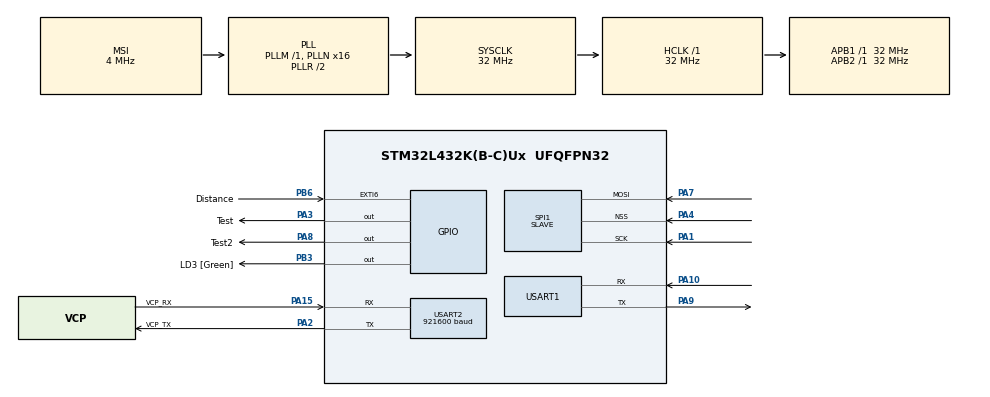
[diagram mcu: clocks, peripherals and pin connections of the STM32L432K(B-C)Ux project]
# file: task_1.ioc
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Dma.Request0=SPI1_RX
Dma.Request1=USART2_TX
Dma.SPI1_RX.0.Direction=DMA_PERIPH_TO_MEMORY
Dma.SPI1_RX.0.Instance=DMA1_Channel2
Dma.SPI1_RX.0.MemDataAlignment=DMA_MDATAALIGN_BYTE
Dma.SPI1_RX.0.MemInc=DMA_MINC_ENABLE
Dma.SPI1_RX.0.Mode=DMA_NORMAL
Dma.SPI1_RX.0.PeriphDataAlignment=DMA_PDATAALIGN_BYTE
Dma.SPI1_RX.0.PeriphInc=DMA_PINC_DISABLE
Dma.SPI1_RX.0.Priority=DMA_PRIORITY_HIGH
Dma.USART2_TX.1.Direction=DMA_MEMORY_TO_PERIPH
Dma.USART2_TX.1.Instance=DMA1_Channel7
Dma.USART2_TX.1.MemDataAlignment=DMA_MDATAALIGN_BYTE
Dma.USART2_TX.1.MemInc=DMA_MINC_ENABLE
Dma.USART2_TX.1.Mode=DMA_NORMAL
Dma.USART2_TX.1.PeriphDataAlignment=DMA_PDATAALIGN_BYTE
Dma.USART2_TX.1.PeriphInc=DMA_PINC_DISABLE
Dma.USART2_TX.1.Priority=DMA_PRIORITY_LOW
Mcu.Family=STM32L4
Mcu.Name=STM32L432K(B-C)Ux
Mcu.Package=UFQFPN32
NVIC.DMA1_Channel2_IRQn=true\:0\:0\:false\:false\:true\:false\:true\:true
NVIC.DMA1_Channel7_IRQn=true\:0\:0\:false\:false\:true\:false\:true\:true
NVIC.EXTI9_5_IRQn=true\:0\:0\:false\:false\:true\:true\:true\:true
NVIC.PriorityGroup=NVIC_PRIORITYGROUP_4
NVIC.USART1_IRQn=true\:0\:0\:false\:false\:true\:true\:true\:true
NVIC.USART2_IRQn=true\:0\:0\:false\:false\:true\:true\:true\:true
PA0.GPIO_Label=MCO [High speed clock in]
PA0.Mode=HSE-External-Clock-Source-for-LittleOrca
PA0.Signal=RCC_CK_IN
PA1.Mode=RX_Only_Simplex_Unidirect_Slave
PA1.Signal=SPI1_SCK
PA10.Mode=Asynchronous
PA10.Signal=USART1_RX
PA13\ (JTMS-SWDIO).GPIO_Label=SWDIO
PA13\ (JTMS-SWDIO).Mode=Serial_Wire
PA13\ (JTMS-SWDIO).Signal=SYS_JTMS-SWDIO
PA14\ (JTCK-SWCLK).GPIO_Label=SWCLK
PA14\ (JTCK-SWCLK).Mode=Serial_Wire
PA14\ (JTCK-SWCLK).Signal=SYS_JTCK-SWCLK
PA15\ (JTDI).GPIO_Label=VCP_RX
PA15\ (JTDI).Mode=Asynchronous
PA15\ (JTDI).Signal=USART2_RX
PA2.GPIO_Label=VCP_TX
PA2.Mode=Asynchronous
PA2.Signal=USART2_TX
PA3.GPIO_Label=Test
PA3.Signal=GPIO_Output
PA4.Mode=NSS_Signal_Hard_Input
PA4.Signal=SPI1_NSS
PA7.Mode=RX_Only_Simplex_Unidirect_Slave
PA7.Signal=SPI1_MOSI
PA8.GPIO_Label=Test2
PA8.Signal=GPIO_Output
PA9.Mode=Asynchronous
PA9.Signal=USART1_TX
PB3\ (JTDO-TRACESWO).GPIO_Label=LD3 [Green]
PB3\ (JTDO-TRACESWO).Signal=GPIO_Output
PB6.GPIO_Label=Distance
PB6.GPIO_ModeDefaultEXTI=GPIO_MODE_IT_RISING_FALLING
PB6.Signal=GPXTI6
PC14-OSC32_IN\ (PC14).Mode=LSE-External-Oscillator
PC14-OSC32_IN\ (PC14).Signal=RCC_OSC32_IN
PC15-OSC32_OUT\ (PC15).Mode=LSE-External-Oscillator
PC15-OSC32_OUT\ (PC15).Signal=RCC_OSC32_OUT
ProjectManager.HeapSize=0x200
ProjectManager.StackSize=0x400
ProjectManager.TargetToolchain=STM32CubeIDE
RCC.AHBFreq_Value=32000000
RCC.APB1Freq_Value=32000000
RCC.APB1TimFreq_Value=32000000
RCC.APB2Freq_Value=32000000
RCC.APB2TimFreq_Value=32000000
RCC.CortexFreq_Value=32000000
RCC.HCLKFreq_Value=32000000
RCC.HSE_VALUE=8000000
RCC.HSI16_VALUE=16000000
RCC.HSI48_VALUE=48000000
RCC.HSI_VALUE=16000000
RCC.MSI_VALUE=4000000
RCC.PLLMUL=RCC_PLLMUL_4
RCC.PLLN=16
RCC.SYSCLKFreq_VALUE=32000000
RCC.SYSCLKSource=RCC_SYSCLKSOURCE_PLLCLK
RCC.VCOOutputFreq_Value=64000000
SPI1.DataSize=SPI_DATASIZE_10BIT
SPI1.Direction=SPI_DIRECTION_2LINES_RXONLY
SPI1.Mode=SPI_MODE_SLAVE
SPI1.VirtualNSS=VM_NSSHARD
SPI1.VirtualType=VM_SLAVE
USART1.VirtualMode-Asynchronous=VM_ASYNC
USART2.BaudRate=921600
USART2.VirtualMode-Asynchronous=VM_ASYNC
board=NUCLEO-L432KC

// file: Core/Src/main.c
/* USER CODE BEGIN Header */
/**
  ******************************************************************************
  * @file           : main.c
  * @brief          : Main program body
  ******************************************************************************
  * @attention
  *
  * Copyright (c) 2026 STMicroelectronics.
  * All rights reserved.
  *
  * This software is licensed under terms that can be found in the LICENSE file
  * in the root directory of this software component.
  * If no LICENSE file comes with this software, it is provided AS-IS.
  *
  ******************************************************************************
  */
/* USER CODE END Header */
#include "main.h"

/* USER CODE BEGIN PTD */
typedef enum {
    RUNNING,
    WAIT_FOR_START,
	OUT_OF_DISTANCE
} SystemState;

typedef enum{
	MANUAL_RECORDING,
	DISTANCE_TRIGGERED
} Mode;

/* USER CODE END PTD */

SPI_HandleTypeDef hspi1;
DMA_HandleTypeDef hdma_spi1_rx;

UART_HandleTypeDef huart1;
UART_HandleTypeDef huart2;
DMA_HandleTypeDef hdma_usart2_tx;

/* USER CODE BEGIN PV */
const uint8_t ZERO  = 0;
const uint8_t STOP_INSTRUCTION = 64;
const uint8_t RECEIVED_CONFIRMATION = 27;
const uint8_t START = 4;

#define CHUNK_SIZE 256
#define WINDOW_SIZE 8

SystemState state = RUNNING;
Mode operation_mode = MANUAL_RECORDING;
uint8_t mode;
uint8_t instruction;
uint8_t received_confirmation;
uint16_t rxBuffer[256];
uint16_t history[2];
uint16_t average;
uint8_t counter = 0;
uint8_t initialise = 0;
uint8_t downsample = 0;
uint16_t downsample_buffer[2] = {0};
uint16_t cumulative_sample;
uint16_t chosen;
//
//uint16_t rxBuffer[CHUNK_SIZE*2];
//uint16_t txBuffer1[CHUNK_SIZE];
//uint16_t txBuffer2[CHUNK_SIZE];
//uint32_t running_sum = 0;
//uint16_t window[WINDOW_SIZE] = {0};
//uint8_t window_idx = 0;

/* USER CODE END PV */

void SystemClock_Config(void);
static void MX_GPIO_Init(void);
static void MX_DMA_Init(void);
static void MX_USART2_UART_Init(void);
static void MX_USART1_UART_Init(void);
static void MX_SPI1_Init(void);

/* USER CODE BEGIN 0 */
//void Process_Audio_Chunk(uint16_t* input_ptr, uint16_t* output_ptr, uint16_t size){
//	for(int i = 0; i<size; i++){
//		running_sum -= window[window_idx];
//		window[window_idx] = input_ptr[i];
//		running_sum += window[window_idx];
//
//		window_idx++;
//		if(window_idx >= WINDOW_SIZE){
//			window_idx = 0;
//		}
//
//		output_ptr[i] = running_sum >> 4;
//	}
//}

// To deal with echo pin from sampling stm
void HAL_GPIO_EXTI_Callback(uint16_t GPIO_Pin)
{
    // to handle the rising edge and failling edge of the Echo
    if (GPIO_Pin == GPIO_PIN_6 && operation_mode == DISTANCE_TRIGGERED)  // PB7
    {
        if (HAL_GPIO_ReadPin(GPIOB, GPIO_PIN_6) == GPIO_PIN_SET && state == RUNNING)
        {
            // rising edge, the object is out of range
            HAL_DMA_Abort_IT(&hdma_spi1_rx);
            HAL_DMA_Abort_IT(&hdma_usart2_tx);
            while (__HAL_UART_GET_FLAG(&huart2, UART_FLAG_TC) == RESET);   // make sure all DMA transmission is done before continuing
            huart2.gState = HAL_UART_STATE_READY;  // force HAL state back to ready

            // send out 4 bytes of 0xFF to signal that we are stopping
            uint8_t stop_val = 255;
            for (int i = 0; i < 4; i++){
                HAL_UART_Transmit(&huart2, &stop_val, 1, HAL_MAX_DELAY);
            };

            state = OUT_OF_DISTANCE;

        }
        else if (HAL_GPIO_ReadPin(GPIOB, GPIO_PIN_6) != GPIO_PIN_SET && state == OUT_OF_DISTANCE)
        {
            // falling edge, means that the object is within range again
            // re-arms the spi dma; refresh all the controlling parameter for SPI DMA
            counter = 0;
            average = 0;
            initialise = 0;
            cumulative_sample = 0;
            downsample = 0;
//        	window_idx = 0;
//        	for (int i = 0; i< WINDOW_SIZE; i++){
//        		window[i] = 0;
//        	}
//
//        	for (int i = 0; i < CHUNK_SIZE * 2; i++){
//        		rxBuffer[i] = 0;
//        	}
//        	running_sum = 0;
            state = RUNNING;
            huart2.gState = HAL_UART_STATE_READY;
            hspi1.State = HAL_SPI_STATE_READY;
            HAL_SPI_Receive_DMA(&hspi1,(uint8_t*)(downsample_buffer + downsample), 1);
        }
    }
}

// called whenever receive something from SPI
void HAL_SPI_RxCpltCallback(SPI_HandleTypeDef *hspi){

	if (hspi->Instance == SPI1) {
//		HAL_GPIO_WritePin(Test2_GPIO_Port, Test2_Pin,1);
		downsample ^= 0x1;
		if (downsample == 0){
			uint16_t value = (downsample_buffer[0] >> 1) + (downsample_buffer[1] >> 1);

			if (initialise >= 2){

				uint16_t val1 = history[0];
				uint16_t val2 = history[1];

				if ((val1 <= val2) && (val1 <= value)){
					chosen = (value <= val2)? value : val2;
				} else if ((val2 <= val1) && (val2 <= value)){
					chosen = (value <= val1) ? value : val1;
				} else{
					chosen = (val1 <= val2) ? val1 : val2;
				};

				history[1] = history[0];
				history[0] = value;

			} else{
				if (initialise){
					history[1] = value;
				} else{
					history[0] = value;
				}
			}
			rxBuffer[counter] = chosen;
			counter++;
			if (counter == WINDOW_SIZE){ // loops the counter around for each index in the window size
				counter = 0;
	//				HAL_GPIO_TogglePin(Test_GPIO_Port, Test_Pin);
			}
			if (initialise >= WINDOW_SIZE-1) // doesn't send first few datapoints until average can be computed
			{
	//			HAL_GPIO_WritePin(Test_GPIO_Port, Test_Pin,1);
				cumulative_sample = 0; // calculates average
				for (uint8_t i = 0; i < WINDOW_SIZE; i++)
				{
					cumulative_sample += rxBuffer[i];
				}

				average = cumulative_sample >> 3;

				uint8_t data_for_transmission = (uint8_t)(average >> 2);

				HAL_UART_Transmit_DMA(&huart2, &data_for_transmission, 1);
				HAL_GPIO_WritePin(Test2_GPIO_Port, Test2_Pin,1);
	//			HAL_GPIO_WritePin(Test_GPIO_Port, Test_Pin,0);

			} else {
				initialise ++;
			}
		}

		HAL_SPI_Receive_DMA(&hspi1, (uint8_t*)(downsample_buffer + downsample), 1);
	}
}
//void HAL_SPI_RxCpltCallback(SPI_HandleTypeDef *hspi){
//  HAL_GPIO_TogglePin(Test_GPIO_Port, Test_Pin);
//  HAL_GPIO_WritePin(Test_GPIO_Port, Test_Pin,1);
//
//    if (hspi->Instance == SPI1) {
//        downsample_position ^= 1;

//        if (downsample_position == 0){
//            downsample_average = (downsample[0]+downsample[1]) >> 1;
//
//            rxBuffer[counter] = downsample_average;
//
//            counter++;
//            if (counter == window_size){ // loops the counter around for each index in the window size
//                counter = 0;
//    //              HAL_GPIO_TogglePin(Test_GPIO_Port, Test_Pin);
//
//            }
//            if (initialise >= window_size-1) // doesn't send first few datapoints until average can be computed
//            {
//
//                cumulative_sample = 0; // calculates average
//                for (uint8_t i = 0; i < window_size; i++)
//                {
//                    cumulative_sample += rxBuffer[i];
//                }
//
//                average = (uint16_t)(cumulative_sample/window_size);
//                HAL_GPIO_WritePin(Test_GPIO_Port, Test_Pin,1);
//                HAL_UART_Transmit_DMA(&huart2, &average, 2);
//
//
//            } else {
//                initialise ++;
//            }
//        }
//
//        HAL_SPI_Receive_DMA(&hspi1, downsample + downsample_position, 1);
//
//    }
//}

//void HAL_SPI_RxHalfCpltCallback(SPI_HandleTypeDef *hspi){
//	if (hspi->Instance == SPI1){
//		Process_Audio_Chunk(&rxBuffer[0], txBuffer1, CHUNK_SIZE);
//        huart2.gState = HAL_UART_STATE_READY;
//		HAL_UART_Transmit_DMA(&huart2, (uint8_t*)txBuffer1, CHUNK_SIZE*2);
//
//	}
//}
//
//void HAL_SPI_RxCpltCallback(SPI_HandleTypeDef *hspi){
//	if (hspi->Instance == SPI1){
//		Process_Audio_Chunk(&rxBuffer[CHUNK_SIZE], txBuffer2, CHUNK_SIZE);
//        huart2.gState = HAL_UART_STATE_READY;
//		HAL_UART_Transmit_DMA(&huart2, (uint8_t*)txBuffer2, CHUNK_SIZE*2);
//
//        hspi1.State = HAL_SPI_STATE_READY;
//		HAL_SPI_Receive_DMA(&hspi1,(uint8_t *)rxBuffer, CHUNK_SIZE * 2);   // re arm the SPI DMA
//	}
//}

void HAL_UART_TxCpltCallback(UART_HandleTypeDef *huart)
{
    if (huart->Instance == USART2)
    {
        // fires when DMA finishes transmitting all bytes
        // safe to transmit next sample here
		HAL_GPIO_WritePin(Test2_GPIO_Port, Test2_Pin,0);
    }
}
void HAL_UART_RxCpltCallback(UART_HandleTypeDef *huart)
{
    if (huart->Instance == USART2)
    {
        if (instruction == STOP_INSTRUCTION){
            HAL_DMA_Abort_IT(&hdma_spi1_rx);
            HAL_DMA_Abort_IT(&hdma_usart2_tx);
            while (__HAL_UART_GET_FLAG(&huart2, UART_FLAG_TC) == RESET);   // make sure all DMA transmission is done before continuing
            huart2.gState = HAL_UART_STATE_READY;  // force HAL state back to ready
            HAL_UART_Transmit(&huart1, &instruction, 1, HAL_MAX_DELAY);    // send stop instruction to sampling stm
            HAL_UART_Receive(&huart1, &received_confirmation, 1, HAL_MAX_DELAY);   // receive the confirmation from sampling stm

            if (received_confirmation == RECEIVED_CONFIRMATION){
                HAL_GPIO_WritePin(LD3_GPIO_Port, LD3_Pin,1);
//              while (__HAL_UART_GET_FLAG(&huart2, UART_FLAG_TC) == RESET);   // make sure all DMA transmission is done before continuing
//              huart2.gState = HAL_UART_STATE_READY;  // force HAL state back to ready
                HAL_UART_Transmit(&huart2, &received_confirmation, 1, HAL_MAX_DELAY);
                HAL_UART_Receive(&huart2, &mode, 1, HAL_MAX_DELAY);    // receive mode from Laptop
                if (mode == 17 || mode == 34){
                    if (mode == 17){
                        operation_mode = MANUAL_RECORDING;
                    } else{
                        operation_mode = DISTANCE_TRIGGERED;
                    }
                    HAL_UART_Transmit(&huart1, &mode, 1, HAL_MAX_DELAY);
                    HAL_UART_Receive(&huart1, &received_confirmation,1 , HAL_MAX_DELAY);   // from sampling stm
                    if (received_confirmation == RECEIVED_CONFIRMATION){
                        HAL_UART_Transmit(&huart2, &RECEIVED_CONFIRMATION, 1, HAL_MAX_DELAY);
                    } else{
                        // sampling stm didn't receive the mode properly
                    }
                } else{
                    // incorrect mode values
                }
            } else{
                // sampling stm didn't receive the stop instruction correctly
            };

            // will be at this line when processing & sampling stm is configured
            // now waiting for laptop to start the sampling
            state = WAIT_FOR_START;
            HAL_UART_Receive_IT(&huart2, &instruction, 1);  // rearm the interrupt to wait for user start input

        }else if (instruction ==  START && state ==  WAIT_FOR_START){
            // reset all the needed parameter before opening the SPI DMA channel
//            downsample_position = 0;
            counter = 0;
            average = 0;
            initialise = 0;
            cumulative_sample = 0;
            downsample = 0;
//        	window_idx = 0;
//        	running_sum = 0;
//        	for (int i = 0; i < WINDOW_SIZE; i++){
//        		window[i] = 0;
//        	};
//
//        	for (int i = 0; i < CHUNK_SIZE * 2; i++){
//        		rxBuffer[i] = 0;
//        	}
            state = RUNNING;
            hspi1.State = HAL_SPI_STATE_READY;
            HAL_SPI_Receive_DMA(&hspi1, (uint8_t*)(downsample_buffer + downsample), 1);
            HAL_UART_Transmit(&huart1, &START, 1, HAL_MAX_DELAY);
            HAL_UART_Receive_IT(&huart2, &instruction, 1);  // rearm the interrupt so that user can stop the processing process in the stm
        }
    }
}

/* USER CODE END 0 */

int main(void)
{

  /* MCU Configuration--------------------------------------------------------*/

  /* Reset of all peripherals, Initializes the Flash interface and the Systick. */
  HAL_Init();

  /* Configure the system clock */
  SystemClock_Config();

  /* Initialize all configured peripherals */
  MX_GPIO_Init();
  MX_DMA_Init();
  MX_USART2_UART_Init();
  MX_USART1_UART_Init();
  MX_SPI1_Init();
  /* USER CODE BEGIN 2 */

  __HAL_SPI_ENABLE(&hspi1);  // add this line BEFORE the DMA call
  HAL_UART_Receive_IT(&huart2, &instruction, 1);
  HAL_SPI_Receive_DMA(&hspi1, (uint8_t*)(downsample_buffer + downsample) ,1);

  /* USER CODE END 2 */

  /* Infinite loop */
  while(1)
  {

    /* USER CODE BEGIN 3 */
	  while( state == WAIT_FOR_START){
		HAL_GPIO_TogglePin(LD3_GPIO_Port, LD3_Pin);
		HAL_Delay(500);
	  }

	  while(state == RUNNING){
		HAL_GPIO_WritePin(LD3_GPIO_Port, LD3_Pin,0);

	  }
  }
  /* USER CODE END 3 */
}

void SystemClock_Config(void)
{
  RCC_OscInitTypeDef RCC_OscInitStruct = {0};
  RCC_ClkInitTypeDef RCC_ClkInitStruct = {0};

  /** Configure the main internal regulator output voltage
  */
  if (HAL_PWREx_ControlVoltageScaling(PWR_REGULATOR_VOLTAGE_SCALE1) != HAL_OK)
  {
    Error_Handler();
  }

  /** Configure LSE Drive Capability
  */
  HAL_PWR_EnableBkUpAccess();
  __HAL_RCC_LSEDRIVE_CONFIG(RCC_LSEDRIVE_LOW);

  /** Initializes the RCC Oscillators according to the specified parameters
  * in the RCC_OscInitTypeDef structure.
  */
  RCC_OscInitStruct.OscillatorType = RCC_OSCILLATORTYPE_LSE|RCC_OSCILLATORTYPE_MSI;
  RCC_OscInitStruct.LSEState = RCC_LSE_ON;
  RCC_OscInitStruct.MSIState = RCC_MSI_ON;
  RCC_OscInitStruct.MSICalibrationValue = 0;
  RCC_OscInitStruct.MSIClockRange = RCC_MSIRANGE_6;
  RCC_OscInitStruct.PLL.PLLState = RCC_PLL_ON;
  RCC_OscInitStruct.PLL.PLLSource = RCC_PLLSOURCE_MSI;
  RCC_OscInitStruct.PLL.PLLM = 1;
  RCC_OscInitStruct.PLL.PLLN = 16;
  RCC_OscInitStruct.PLL.PLLP = RCC_PLLP_DIV7;
  RCC_OscInitStruct.PLL.PLLQ = RCC_PLLQ_DIV2;
  RCC_OscInitStruct.PLL.PLLR = RCC_PLLR_DIV2;
  if (HAL_RCC_OscConfig(&RCC_OscInitStruct) != HAL_OK)
  {
    Error_Handler();
  }

  /** Initializes the CPU, AHB and APB buses clocks
  */
  RCC_ClkInitStruct.ClockType = RCC_CLOCKTYPE_HCLK|RCC_CLOCKTYPE_SYSCLK
                              |RCC_CLOCKTYPE_PCLK1|RCC_CLOCKTYPE_PCLK2;
  RCC_ClkInitStruct.SYSCLKSource = RCC_SYSCLKSOURCE_PLLCLK;
  RCC_ClkInitStruct.AHBCLKDivider = RCC_SYSCLK_DIV1;
  RCC_ClkInitStruct.APB1CLKDivider = RCC_HCLK_DIV1;
  RCC_ClkInitStruct.APB2CLKDivider = RCC_HCLK_DIV1;

  if (HAL_RCC_ClockConfig(&RCC_ClkInitStruct, FLASH_LATENCY_1) != HAL_OK)
  {
    Error_Handler();
  }

  /** Enable MSI Auto calibration
  */
  HAL_RCCEx_EnableMSIPLLMode();
}

static void MX_SPI1_Init(void)
{

  /* SPI1 parameter configuration*/
  hspi1.Instance = SPI1;
  hspi1.Init.Mode = SPI_MODE_SLAVE;
  hspi1.Init.Direction = SPI_DIRECTION_2LINES_RXONLY;
  hspi1.Init.DataSize = SPI_DATASIZE_10BIT;
  hspi1.Init.CLKPolarity = SPI_POLARITY_LOW;
  hspi1.Init.CLKPhase = SPI_PHASE_1EDGE;
  hspi1.Init.NSS = SPI_NSS_HARD_INPUT;
  hspi1.Init.FirstBit = SPI_FIRSTBIT_MSB;
  hspi1.Init.TIMode = SPI_TIMODE_DISABLE;
  hspi1.Init.CRCCalculation = SPI_CRCCALCULATION_DISABLE;
  hspi1.Init.CRCPolynomial = 7;
  hspi1.Init.CRCLength = SPI_CRC_LENGTH_DATASIZE;
  hspi1.Init.NSSPMode = SPI_NSS_PULSE_DISABLE;
  if (HAL_SPI_Init(&hspi1) != HAL_OK)
  {
    Error_Handler();
  }

}

static void MX_USART1_UART_Init(void)
{

  huart1.Instance = USART1;
  huart1.Init.BaudRate = 115200;
  huart1.Init.WordLength = UART_WORDLENGTH_8B;
  huart1.Init.StopBits = UART_STOPBITS_1;
  huart1.Init.Parity = UART_PARITY_NONE;
  huart1.Init.Mode = UART_MODE_TX_RX;
  huart1.Init.HwFlowCtl = UART_HWCONTROL_NONE;
  huart1.Init.OverSampling = UART_OVERSAMPLING_16;
  huart1.Init.OneBitSampling = UART_ONE_BIT_SAMPLE_DISABLE;
  huart1.AdvancedInit.AdvFeatureInit = UART_ADVFEATURE_NO_INIT;
  if (HAL_UART_Init(&huart1) != HAL_OK)
  {
    Error_Handler();
  }

}

static void MX_USART2_UART_Init(void)
{

  huart2.Instance = USART2;
  huart2.Init.BaudRate = 921600;
  huart2.Init.WordLength = UART_WORDLENGTH_8B;
  huart2.Init.StopBits = UART_STOPBITS_1;
  huart2.Init.Parity = UART_PARITY_NONE;
  huart2.Init.Mode = UART_MODE_TX_RX;
  huart2.Init.HwFlowCtl = UART_HWCONTROL_NONE;
  huart2.Init.OverSampling = UART_OVERSAMPLING_16;
  huart2.Init.OneBitSampling = UART_ONE_BIT_SAMPLE_DISABLE;
  huart2.AdvancedInit.AdvFeatureInit = UART_ADVFEATURE_NO_INIT;
  if (HAL_UART_Init(&huart2) != HAL_OK)
  {
    Error_Handler();
  }

}

static void MX_DMA_Init(void)
{

  /* DMA controller clock enable */
  __HAL_RCC_DMA1_CLK_ENABLE();

  /* DMA interrupt init */
  /* DMA1_Channel2_IRQn interrupt configuration */
  HAL_NVIC_SetPriority(DMA1_Channel2_IRQn, 0, 0);
  HAL_NVIC_EnableIRQ(DMA1_Channel2_IRQn);
  /* DMA1_Channel7_IRQn interrupt configuration */
  HAL_NVIC_SetPriority(DMA1_Channel7_IRQn, 0, 0);
  HAL_NVIC_EnableIRQ(DMA1_Channel7_IRQn);

}

static void MX_GPIO_Init(void)
{
  GPIO_InitTypeDef GPIO_InitStruct = {0};

  /* GPIO Ports Clock Enable */
  __HAL_RCC_GPIOC_CLK_ENABLE();
  __HAL_RCC_GPIOA_CLK_ENABLE();
  __HAL_RCC_GPIOB_CLK_ENABLE();

  /*Configure GPIO pin Output Level */
  HAL_GPIO_WritePin(GPIOA, Test_Pin|Test2_Pin, GPIO_PIN_RESET);

  /*Configure GPIO pin Output Level */
  HAL_GPIO_WritePin(LD3_GPIO_Port, LD3_Pin, GPIO_PIN_RESET);

  /*Configure GPIO pins : Test_Pin Test2_Pin */
  GPIO_InitStruct.Pin = Test_Pin|Test2_Pin;
  GPIO_InitStruct.Mode = GPIO_MODE_OUTPUT_PP;
  GPIO_InitStruct.Pull = GPIO_NOPULL;
  GPIO_InitStruct.Speed = GPIO_SPEED_FREQ_LOW;
  HAL_GPIO_Init(GPIOA, &GPIO_InitStruct);

  /*Configure GPIO pin : LD3_Pin */
  GPIO_InitStruct.Pin = LD3_Pin;
  GPIO_InitStruct.Mode = GPIO_MODE_OUTPUT_PP;
  GPIO_InitStruct.Pull = GPIO_NOPULL;
  GPIO_InitStruct.Speed = GPIO_SPEED_FREQ_LOW;
  HAL_GPIO_Init(LD3_GPIO_Port, &GPIO_InitStruct);

  /*Configure GPIO pin : Distance_Pin */
  GPIO_InitStruct.Pin = Distance_Pin;
  GPIO_InitStruct.Mode = GPIO_MODE_IT_RISING_FALLING;
  GPIO_InitStruct.Pull = GPIO_NOPULL;
  HAL_GPIO_Init(Distance_GPIO_Port, &GPIO_InitStruct);

  /* EXTI interrupt init*/
  HAL_NVIC_SetPriority(EXTI9_5_IRQn, 0, 0);
  HAL_NVIC_EnableIRQ(EXTI9_5_IRQn);

}

void Error_Handler(void)
{
  __disable_irq();
  while (1)
  {
  }
}
